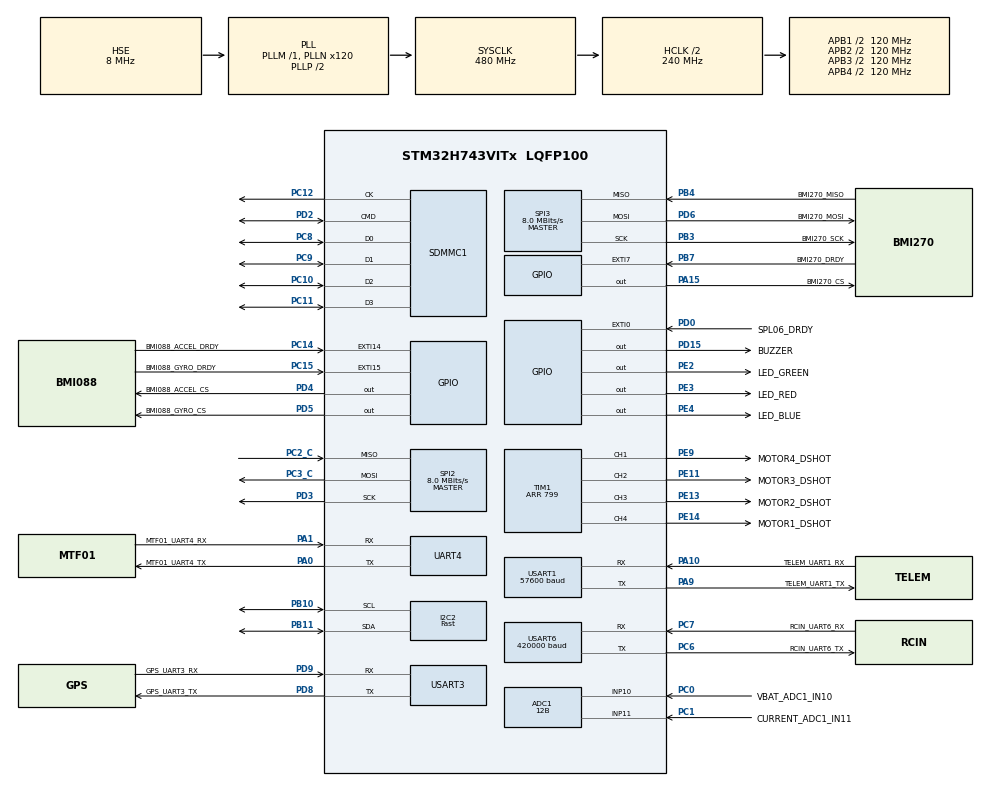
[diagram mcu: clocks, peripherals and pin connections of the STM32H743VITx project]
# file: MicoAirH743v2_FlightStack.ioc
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ADC1.Channel-0\#ChannelRegularConversion=ADC_CHANNEL_10
ADC1.Channel-1\#ChannelRegularConversion=ADC_CHANNEL_11
ADC1.ContinuousConvMode=ENABLE
ADC1.ConversionDataManagement=ADC_CONVERSIONDATA_DMA_CIRCULAR
ADC1.EOCSelection=ADC_EOC_SEQ_CONV
ADC1.NbrOfConversion=2
ADC1.NbrOfConversionFlag=1
ADC1.OffsetNumber-0\#ChannelRegularConversion=ADC_OFFSET_NONE
ADC1.OffsetNumber-1\#ChannelRegularConversion=ADC_OFFSET_NONE
ADC1.OffsetSignedSaturation-0\#ChannelRegularConversion=DISABLE
ADC1.Overrun=ADC_OVR_DATA_OVERWRITTEN
ADC1.OversamplingMode=DISABLE
ADC1.Rank-0\#ChannelRegularConversion=1
ADC1.Rank-1\#ChannelRegularConversion=2
ADC1.Resolution=ADC_RESOLUTION_12B
ADC1.SamplingTime-0\#ChannelRegularConversion=ADC_SAMPLETIME_810CYCLES_5
ADC1.SamplingTime-1\#ChannelRegularConversion=ADC_SAMPLETIME_810CYCLES_5
ADC1.master=1
CORTEX_M7.AccessPermission_S-Cortex_Memory_Protection_Unit_Region1_Settings_S=MPU_REGION_FULL_ACCESS
CORTEX_M7.AccessPermission_S-Cortex_Memory_Protection_Unit_Region2_Settings_S=MPU_REGION_FULL_ACCESS
CORTEX_M7.BaseAddress_S-Cortex_Memory_Protection_Unit_Region1_Settings_S=0x30000000
CORTEX_M7.BaseAddress_S-Cortex_Memory_Protection_Unit_Region2_Settings_S=0x30001000
CORTEX_M7.CPU_DCache=Enabled
CORTEX_M7.CPU_ICache=Enabled
CORTEX_M7.Enable_S-Cortex_Memory_Protection_Unit_Region1_Settings_S=MPU_REGION_ENABLE
CORTEX_M7.Enable_S-Cortex_Memory_Protection_Unit_Region2_Settings_S=MPU_REGION_ENABLE
CORTEX_M7.Size_S-Cortex_Memory_Protection_Unit_Region1_Settings_S=MPU_REGION_SIZE_4KB
CORTEX_M7.Size_S-Cortex_Memory_Protection_Unit_Region2_Settings_S=MPU_REGION_SIZE_2KB
CORTEX_M7.TypeExtField_S-Cortex_Memory_Protection_Unit_Region1_Settings_S=MPU_TEX_LEVEL1
CORTEX_M7.TypeExtField_S-Cortex_Memory_Protection_Unit_Region2_Settings_S=MPU_TEX_LEVEL1
CORTEX_M7.default_mode_Activation=1
Dma.ADC1.10.Direction=DMA_PERIPH_TO_MEMORY
Dma.ADC1.10.EventEnable=DISABLE
Dma.ADC1.10.FIFOMode=DMA_FIFOMODE_DISABLE
Dma.ADC1.10.Instance=DMA1_Stream7
Dma.ADC1.10.MemDataAlignment=DMA_MDATAALIGN_HALFWORD
Dma.ADC1.10.MemInc=DMA_MINC_ENABLE
Dma.ADC1.10.Mode=DMA_CIRCULAR
Dma.ADC1.10.PeriphDataAlignment=DMA_PDATAALIGN_HALFWORD
Dma.ADC1.10.PeriphInc=DMA_PINC_DISABLE
Dma.ADC1.10.Polarity=HAL_DMAMUX_REQ_GEN_RISING
Dma.ADC1.10.Priority=DMA_PRIORITY_MEDIUM
Dma.ADC1.10.RequestNumber=1
Dma.ADC1.10.SignalID=NONE
Dma.ADC1.10.SyncEnable=DISABLE
Dma.ADC1.10.SyncPolarity=HAL_DMAMUX_SYNC_NO_EVENT
Dma.ADC1.10.SyncRequestNumber=1
Dma.ADC1.10.SyncSignalID=NONE
Dma.Request0=SPI2_RX
Dma.Request1=SPI2_TX
Dma.Request10=ADC1
Dma.Request11=TIM1_CH1
Dma.Request12=TIM1_CH2
Dma.Request13=TIM1_CH3
Dma.Request14=TIM1_CH4
Dma.Request15=TIM1_UP
Dma.Request2=SPI3_RX
Dma.Request3=SPI3_TX
Dma.Request4=USART6_RX
Dma.Request5=USART6_TX
Dma.Request6=UART4_RX
Dma.Request7=USART1_RX
Dma.Request8=USART1_TX
Dma.Request9=USART3_RX
Dma.SPI2_RX.0.Direction=DMA_PERIPH_TO_MEMORY
Dma.SPI2_RX.0.EventEnable=DISABLE
Dma.SPI2_RX.0.FIFOMode=DMA_FIFOMODE_DISABLE
Dma.SPI2_RX.0.Instance=DMA1_Stream0
Dma.SPI2_RX.0.MemDataAlignment=DMA_MDATAALIGN_BYTE
Dma.SPI2_RX.0.MemInc=DMA_MINC_ENABLE
Dma.SPI2_RX.0.Mode=DMA_NORMAL
Dma.SPI2_RX.0.PeriphDataAlignment=DMA_PDATAALIGN_BYTE
Dma.SPI2_RX.0.PeriphInc=DMA_PINC_DISABLE
Dma.SPI2_RX.0.Polarity=HAL_DMAMUX_REQ_GEN_RISING
Dma.SPI2_RX.0.Priority=DMA_PRIORITY_VERY_HIGH
Dma.SPI2_RX.0.RequestNumber=1
Dma.SPI2_RX.0.SignalID=NONE
Dma.SPI2_RX.0.SyncEnable=DISABLE
Dma.SPI2_RX.0.SyncPolarity=HAL_DMAMUX_SYNC_NO_EVENT
Dma.SPI2_RX.0.SyncRequestNumber=1
Dma.SPI2_RX.0.SyncSignalID=NONE
Dma.SPI2_TX.1.Direction=DMA_MEMORY_TO_PERIPH
Dma.SPI2_TX.1.EventEnable=DISABLE
Dma.SPI2_TX.1.FIFOMode=DMA_FIFOMODE_DISABLE
Dma.SPI2_TX.1.Instance=DMA1_Stream1
Dma.SPI2_TX.1.MemDataAlignment=DMA_MDATAALIGN_BYTE
Dma.SPI2_TX.1.MemInc=DMA_MINC_ENABLE
Dma.SPI2_TX.1.Mode=DMA_NORMAL
Dma.SPI2_TX.1.PeriphDataAlignment=DMA_PDATAALIGN_BYTE
Dma.SPI2_TX.1.PeriphInc=DMA_PINC_DISABLE
Dma.SPI2_TX.1.Polarity=HAL_DMAMUX_REQ_GEN_RISING
Dma.SPI2_TX.1.Priority=DMA_PRIORITY_VERY_HIGH
Dma.SPI2_TX.1.RequestNumber=1
Dma.SPI2_TX.1.SignalID=NONE
Dma.SPI2_TX.1.SyncEnable=DISABLE
Dma.SPI2_TX.1.SyncPolarity=HAL_DMAMUX_SYNC_NO_EVENT
Dma.SPI2_TX.1.SyncRequestNumber=1
Dma.SPI2_TX.1.SyncSignalID=NONE
Dma.SPI3_RX.2.Direction=DMA_PERIPH_TO_MEMORY
Dma.SPI3_RX.2.EventEnable=DISABLE
Dma.SPI3_RX.2.FIFOMode=DMA_FIFOMODE_DISABLE
Dma.SPI3_RX.2.Instance=DMA1_Stream2
Dma.SPI3_RX.2.MemDataAlignment=DMA_MDATAALIGN_BYTE
Dma.SPI3_RX.2.MemInc=DMA_MINC_ENABLE
Dma.SPI3_RX.2.Mode=DMA_NORMAL
Dma.SPI3_RX.2.PeriphDataAlignment=DMA_PDATAALIGN_BYTE
Dma.SPI3_RX.2.PeriphInc=DMA_PINC_DISABLE
Dma.SPI3_RX.2.Polarity=HAL_DMAMUX_REQ_GEN_RISING
Dma.SPI3_RX.2.Priority=DMA_PRIORITY_HIGH
Dma.SPI3_RX.2.RequestNumber=1
Dma.SPI3_RX.2.SignalID=NONE
Dma.SPI3_RX.2.SyncEnable=DISABLE
Dma.SPI3_RX.2.SyncPolarity=HAL_DMAMUX_SYNC_NO_EVENT
Dma.SPI3_RX.2.SyncRequestNumber=1
Dma.SPI3_RX.2.SyncSignalID=NONE
Dma.SPI3_TX.3.Direction=DMA_MEMORY_TO_PERIPH
Dma.SPI3_TX.3.EventEnable=DISABLE
Dma.SPI3_TX.3.FIFOMode=DMA_FIFOMODE_DISABLE
Dma.SPI3_TX.3.Instance=DMA1_Stream3
Dma.SPI3_TX.3.MemDataAlignment=DMA_MDATAALIGN_BYTE
Dma.SPI3_TX.3.MemInc=DMA_MINC_ENABLE
Dma.SPI3_TX.3.Mode=DMA_NORMAL
Dma.SPI3_TX.3.PeriphDataAlignment=DMA_PDATAALIGN_BYTE
Dma.SPI3_TX.3.PeriphInc=DMA_PINC_DISABLE
Dma.SPI3_TX.3.Polarity=HAL_DMAMUX_REQ_GEN_RISING
Dma.SPI3_TX.3.Priority=DMA_PRIORITY_HIGH
Dma.SPI3_TX.3.RequestNumber=1
Dma.SPI3_TX.3.SignalID=NONE
Dma.SPI3_TX.3.SyncEnable=DISABLE
Dma.SPI3_TX.3.SyncPolarity=HAL_DMAMUX_SYNC_NO_EVENT
Dma.SPI3_TX.3.SyncRequestNumber=1
Dma.SPI3_TX.3.SyncSignalID=NONE
Dma.TIM1_CH1.11.Direction=DMA_PERIPH_TO_MEMORY
Dma.TIM1_CH1.11.EventEnable=DISABLE
Dma.TIM1_CH1.11.FIFOMode=DMA_FIFOMODE_DISABLE
Dma.TIM1_CH1.11.Instance=DMA2_Stream4
Dma.TIM1_CH1.11.MemDataAlignment=DMA_MDATAALIGN_HALFWORD
Dma.TIM1_CH1.11.MemInc=DMA_MINC_ENABLE
Dma.TIM1_CH1.11.Mode=DMA_NORMAL
Dma.TIM1_CH1.11.PeriphDataAlignment=DMA_PDATAALIGN_HALFWORD
Dma.TIM1_CH1.11.PeriphInc=DMA_PINC_DISABLE
Dma.TIM1_CH1.11.Polarity=HAL_DMAMUX_REQ_GEN_RISING
Dma.TIM1_CH1.11.Priority=DMA_PRIORITY_VERY_HIGH
Dma.TIM1_CH1.11.RequestNumber=1
Dma.TIM1_CH1.11.SignalID=NONE
Dma.TIM1_CH1.11.SyncEnable=DISABLE
Dma.TIM1_CH1.11.SyncPolarity=HAL_DMAMUX_SYNC_NO_EVENT
Dma.TIM1_CH1.11.SyncRequestNumber=1
Dma.TIM1_CH1.11.SyncSignalID=NONE
Dma.TIM1_CH2.12.Direction=DMA_PERIPH_TO_MEMORY
Dma.TIM1_CH2.12.EventEnable=DISABLE
Dma.TIM1_CH2.12.FIFOMode=DMA_FIFOMODE_DISABLE
Dma.TIM1_CH2.12.Instance=DMA2_Stream5
Dma.TIM1_CH2.12.MemDataAlignment=DMA_MDATAALIGN_HALFWORD
Dma.TIM1_CH2.12.MemInc=DMA_MINC_ENABLE
Dma.TIM1_CH2.12.Mode=DMA_NORMAL
Dma.TIM1_CH2.12.PeriphDataAlignment=DMA_PDATAALIGN_HALFWORD
Dma.TIM1_CH2.12.PeriphInc=DMA_PINC_DISABLE
Dma.TIM1_CH2.12.Polarity=HAL_DMAMUX_REQ_GEN_RISING
Dma.TIM1_CH2.12.Priority=DMA_PRIORITY_VERY_HIGH
Dma.TIM1_CH2.12.RequestNumber=1
Dma.TIM1_CH2.12.SignalID=NONE
Dma.TIM1_CH2.12.SyncEnable=DISABLE
Dma.TIM1_CH2.12.SyncPolarity=HAL_DMAMUX_SYNC_NO_EVENT
Dma.TIM1_CH2.12.SyncRequestNumber=1
Dma.TIM1_CH2.12.SyncSignalID=NONE
Dma.TIM1_CH3.13.Direction=DMA_PERIPH_TO_MEMORY
Dma.TIM1_CH3.13.EventEnable=DISABLE
Dma.TIM1_CH3.13.FIFOMode=DMA_FIFOMODE_DISABLE
Dma.TIM1_CH3.13.Instance=DMA2_Stream6
Dma.TIM1_CH3.13.MemDataAlignment=DMA_MDATAALIGN_HALFWORD
Dma.TIM1_CH3.13.MemInc=DMA_MINC_ENABLE
Dma.TIM1_CH3.13.Mode=DMA_NORMAL
Dma.TIM1_CH3.13.PeriphDataAlignment=DMA_PDATAALIGN_HALFWORD
Dma.TIM1_CH3.13.PeriphInc=DMA_PINC_DISABLE
Dma.TIM1_CH3.13.Polarity=HAL_DMAMUX_REQ_GEN_RISING
Dma.TIM1_CH3.13.Priority=DMA_PRIORITY_VERY_HIGH
Dma.TIM1_CH3.13.RequestNumber=1
Dma.TIM1_CH3.13.SignalID=NONE
Dma.TIM1_CH3.13.SyncEnable=DISABLE
Dma.TIM1_CH3.13.SyncPolarity=HAL_DMAMUX_SYNC_NO_EVENT
Dma.TIM1_CH3.13.SyncRequestNumber=1
Dma.TIM1_CH3.13.SyncSignalID=NONE
Dma.TIM1_CH4.14.Direction=DMA_PERIPH_TO_MEMORY
Dma.TIM1_CH4.14.EventEnable=DISABLE
Dma.TIM1_CH4.14.FIFOMode=DMA_FIFOMODE_DISABLE
Dma.TIM1_CH4.14.Instance=DMA2_Stream7
Dma.TIM1_CH4.14.MemDataAlignment=DMA_MDATAALIGN_HALFWORD
Dma.TIM1_CH4.14.MemInc=DMA_MINC_ENABLE
Dma.TIM1_CH4.14.Mode=DMA_NORMAL
Dma.TIM1_CH4.14.PeriphDataAlignment=DMA_PDATAALIGN_HALFWORD
Dma.TIM1_CH4.14.PeriphInc=DMA_PINC_DISABLE
Dma.TIM1_CH4.14.Polarity=HAL_DMAMUX_REQ_GEN_RISING
Dma.TIM1_CH4.14.Priority=DMA_PRIORITY_VERY_HIGH
Dma.TIM1_CH4.14.RequestNumber=1
Dma.TIM1_CH4.14.SignalID=NONE
Dma.TIM1_CH4.14.SyncEnable=DISABLE
Dma.TIM1_CH4.14.SyncPolarity=HAL_DMAMUX_SYNC_NO_EVENT
Dma.TIM1_CH4.14.SyncRequestNumber=1
Dma.TIM1_CH4.14.SyncSignalID=NONE
Dma.TIM1_UP.15.Direction=DMA_MEMORY_TO_PERIPH
Dma.TIM1_UP.15.EventEnable=DISABLE
Dma.TIM1_UP.15.FIFOMode=DMA_FIFOMODE_DISABLE
Dma.TIM1_UP.15.Instance=DMA2_Stream3
Dma.TIM1_UP.15.MemDataAlignment=DMA_MDATAALIGN_HALFWORD
Dma.TIM1_UP.15.MemInc=DMA_MINC_ENABLE
Dma.TIM1_UP.15.Mode=DMA_NORMAL
Dma.TIM1_UP.15.PeriphDataAlignment=DMA_PDATAALIGN_HALFWORD
Dma.TIM1_UP.15.PeriphInc=DMA_PINC_DISABLE
Dma.TIM1_UP.15.Polarity=HAL_DMAMUX_REQ_GEN_RISING
Dma.TIM1_UP.15.Priority=DMA_PRIORITY_VERY_HIGH
Dma.TIM1_UP.15.RequestNumber=1
Dma.TIM1_UP.15.SignalID=NONE
Dma.TIM1_UP.15.SyncEnable=DISABLE
Dma.TIM1_UP.15.SyncPolarity=HAL_DMAMUX_SYNC_NO_EVENT
Dma.TIM1_UP.15.SyncRequestNumber=1
Dma.TIM1_UP.15.SyncSignalID=NONE
Dma.UART4_RX.6.Direction=DMA_PERIPH_TO_MEMORY
Dma.UART4_RX.6.EventEnable=DISABLE
Dma.UART4_RX.6.FIFOMode=DMA_FIFOMODE_DISABLE
Dma.UART4_RX.6.Instance=DMA1_Stream6
Dma.UART4_RX.6.MemDataAlignment=DMA_MDATAALIGN_BYTE
Dma.UART4_RX.6.MemInc=DMA_MINC_ENABLE
Dma.UART4_RX.6.Mode=DMA_CIRCULAR
Dma.UART4_RX.6.PeriphDataAlignment=DMA_PDATAALIGN_BYTE
Dma.UART4_RX.6.PeriphInc=DMA_PINC_DISABLE
Dma.UART4_RX.6.Polarity=HAL_DMAMUX_REQ_GEN_RISING
Dma.UART4_RX.6.Priority=DMA_PRIORITY_HIGH
Dma.UART4_RX.6.RequestNumber=1
Dma.UART4_RX.6.SignalID=NONE
Dma.UART4_RX.6.SyncEnable=DISABLE
Dma.UART4_RX.6.SyncPolarity=HAL_DMAMUX_SYNC_NO_EVENT
Dma.UART4_RX.6.SyncRequestNumber=1
Dma.UART4_RX.6.SyncSignalID=NONE
Dma.USART1_RX.7.Direction=DMA_PERIPH_TO_MEMORY
Dma.USART1_RX.7.EventEnable=DISABLE
Dma.USART1_RX.7.FIFOMode=DMA_FIFOMODE_DISABLE
Dma.USART1_RX.7.Instance=DMA2_Stream0
Dma.USART1_RX.7.MemDataAlignment=DMA_MDATAALIGN_BYTE
Dma.USART1_RX.7.MemInc=DMA_MINC_ENABLE
Dma.USART1_RX.7.Mode=DMA_CIRCULAR
Dma.USART1_RX.7.PeriphDataAlignment=DMA_PDATAALIGN_BYTE
Dma.USART1_RX.7.PeriphInc=DMA_PINC_DISABLE
Dma.USART1_RX.7.Polarity=HAL_DMAMUX_REQ_GEN_RISING
Dma.USART1_RX.7.Priority=DMA_PRIORITY_MEDIUM
Dma.USART1_RX.7.RequestNumber=1
Dma.USART1_RX.7.SignalID=NONE
Dma.USART1_RX.7.SyncEnable=DISABLE
Dma.USART1_RX.7.SyncPolarity=HAL_DMAMUX_SYNC_NO_EVENT
Dma.USART1_RX.7.SyncRequestNumber=1
Dma.USART1_RX.7.SyncSignalID=NONE
Dma.USART1_TX.8.Direction=DMA_MEMORY_TO_PERIPH
Dma.USART1_TX.8.EventEnable=DISABLE
Dma.USART1_TX.8.FIFOMode=DMA_FIFOMODE_DISABLE
Dma.USART1_TX.8.Instance=DMA2_Stream1
Dma.USART1_TX.8.MemDataAlignment=DMA_MDATAALIGN_BYTE
Dma.USART1_TX.8.MemInc=DMA_MINC_ENABLE
Dma.USART1_TX.8.Mode=DMA_NORMAL
Dma.USART1_TX.8.PeriphDataAlignment=DMA_PDATAALIGN_BYTE
Dma.USART1_TX.8.PeriphInc=DMA_PINC_DISABLE
Dma.USART1_TX.8.Polarity=HAL_DMAMUX_REQ_GEN_RISING
Dma.USART1_TX.8.Priority=DMA_PRIORITY_LOW
Dma.USART1_TX.8.RequestNumber=1
Dma.USART1_TX.8.SignalID=NONE
Dma.USART1_TX.8.SyncEnable=DISABLE
Dma.USART1_TX.8.SyncPolarity=HAL_DMAMUX_SYNC_NO_EVENT
Dma.USART1_TX.8.SyncRequestNumber=1
Dma.USART1_TX.8.SyncSignalID=NONE
Dma.USART3_RX.9.Direction=DMA_PERIPH_TO_MEMORY
Dma.USART3_RX.9.EventEnable=DISABLE
Dma.USART3_RX.9.FIFOMode=DMA_FIFOMODE_DISABLE
Dma.USART3_RX.9.Instance=DMA2_Stream2
Dma.USART3_RX.9.MemDataAlignment=DMA_MDATAALIGN_BYTE
Dma.USART3_RX.9.MemInc=DMA_MINC_ENABLE
Dma.USART3_RX.9.Mode=DMA_CIRCULAR
Dma.USART3_RX.9.PeriphDataAlignment=DMA_PDATAALIGN_BYTE
Dma.USART3_RX.9.PeriphInc=DMA_PINC_DISABLE
Dma.USART3_RX.9.Polarity=HAL_DMAMUX_REQ_GEN_RISING
Dma.USART3_RX.9.Priority=DMA_PRIORITY_MEDIUM
Dma.USART3_RX.9.RequestNumber=1
Dma.USART3_RX.9.SignalID=NONE
Dma.USART3_RX.9.SyncEnable=DISABLE
Dma.USART3_RX.9.SyncPolarity=HAL_DMAMUX_SYNC_NO_EVENT
Dma.USART3_RX.9.SyncRequestNumber=1
Dma.USART3_RX.9.SyncSignalID=NONE
Dma.USART6_RX.4.Direction=DMA_PERIPH_TO_MEMORY
Dma.USART6_RX.4.EventEnable=DISABLE
Dma.USART6_RX.4.FIFOMode=DMA_FIFOMODE_DISABLE
Dma.USART6_RX.4.Instance=DMA1_Stream4
Dma.USART6_RX.4.MemDataAlignment=DMA_MDATAALIGN_BYTE
Dma.USART6_RX.4.MemInc=DMA_MINC_ENABLE
Dma.USART6_RX.4.Mode=DMA_CIRCULAR
Dma.USART6_RX.4.PeriphDataAlignment=DMA_PDATAALIGN_BYTE
Dma.USART6_RX.4.PeriphInc=DMA_PINC_DISABLE
Dma.USART6_RX.4.Polarity=HAL_DMAMUX_REQ_GEN_RISING
Dma.USART6_RX.4.Priority=DMA_PRIORITY_HIGH
Dma.USART6_RX.4.RequestNumber=1
Dma.USART6_RX.4.SignalID=NONE
Dma.USART6_RX.4.SyncEnable=DISABLE
Dma.USART6_RX.4.SyncPolarity=HAL_DMAMUX_SYNC_NO_EVENT
Dma.USART6_RX.4.SyncRequestNumber=1
Dma.USART6_RX.4.SyncSignalID=NONE
Dma.USART6_TX.5.Direction=DMA_MEMORY_TO_PERIPH
Dma.USART6_TX.5.EventEnable=DISABLE
Dma.USART6_TX.5.FIFOMode=DMA_FIFOMODE_DISABLE
Dma.USART6_TX.5.Instance=DMA1_Stream5
Dma.USART6_TX.5.MemDataAlignment=DMA_MDATAALIGN_BYTE
Dma.USART6_TX.5.MemInc=DMA_MINC_ENABLE
Dma.USART6_TX.5.Mode=DMA_NORMAL
Dma.USART6_TX.5.PeriphDataAlignment=DMA_PDATAALIGN_BYTE
Dma.USART6_TX.5.PeriphInc=DMA_PINC_DISABLE
Dma.USART6_TX.5.Polarity=HAL_DMAMUX_REQ_GEN_RISING
Dma.USART6_TX.5.Priority=DMA_PRIORITY_HIGH
Dma.USART6_TX.5.RequestNumber=1
Dma.USART6_TX.5.SignalID=NONE
Dma.USART6_TX.5.SyncEnable=DISABLE
Dma.USART6_TX.5.SyncPolarity=HAL_DMAMUX_SYNC_NO_EVENT
Dma.USART6_TX.5.SyncRequestNumber=1
Dma.USART6_TX.5.SyncSignalID=NONE
FATFS._FS_NORTC=1
FATFS._USE_FASTSEEK=0
FREERTOS.Mutexes01=i2c2Mutex,Dynamic,NULL,Available
FREERTOS.Tasks01=defaultTask,24,128,StartDefaultTask,Default,NULL,Dynamic,NULL,NULL;IMUTask,40,512,StartIMUTask,Default,NULL,Dynamic,NULL,NULL;BaroTask,16,512,StartBaroTask,Default,NULL,Dynamic,NULL,NULL;CompassTask,16,512,StartCompassTask,Default,NULL,Dynamic,NULL,NULL;RCTask,32,512,StartRCTask,Default,NULL,Dynamic,NULL,NULL;RateControlTask,33,1024,StartRateControlTask,Default,NULL,Dynamic,NULL,NULL
FREERTOS.configCHECK_FOR_STACK_OVERFLOW=2
FREERTOS.configENABLE_FPU=1
FREERTOS.configMAX_TASK_NAME_LEN=24
FREERTOS.configQUEUE_REGISTRY_SIZE=16
FREERTOS.configTOTAL_HEAP_SIZE=65536
FREERTOS.configUSE_MALLOC_FAILED_HOOK=1
FREERTOS.configUSE_NEWLIB_REENTRANT=1
I2C2.I2C_Speed_Mode=I2C_Fast
I2C2.Timing=0x00B03FDB
Mcu.Family=STM32H7
Mcu.Name=STM32H743VITx
Mcu.Package=LQFP100
NVIC.DMA1_Stream0_IRQn=true\:5\:0\:true\:false\:true\:false\:false\:true\:true
NVIC.DMA1_Stream1_IRQn=true\:5\:0\:true\:false\:true\:false\:false\:true\:true
NVIC.DMA1_Stream2_IRQn=true\:6\:0\:true\:false\:true\:false\:false\:true\:true
NVIC.DMA1_Stream3_IRQn=true\:6\:0\:true\:false\:true\:false\:false\:true\:true
NVIC.DMA1_Stream4_IRQn=true\:6\:0\:true\:false\:true\:false\:false\:true\:true
NVIC.DMA1_Stream5_IRQn=true\:6\:0\:true\:false\:true\:false\:false\:true\:true
NVIC.DMA1_Stream6_IRQn=true\:7\:0\:true\:false\:true\:false\:false\:true\:true
NVIC.DMA1_Stream7_IRQn=true\:9\:0\:true\:false\:true\:false\:false\:true\:true
NVIC.DMA2_Stream0_IRQn=true\:8\:0\:true\:false\:true\:false\:false\:true\:true
NVIC.DMA2_Stream1_IRQn=true\:8\:0\:true\:false\:true\:false\:false\:true\:true
NVIC.DMA2_Stream2_IRQn=true\:8\:0\:true\:false\:true\:false\:false\:true\:true
NVIC.DMA2_Stream3_IRQn=true\:6\:0\:true\:false\:true\:false\:false\:true\:true
NVIC.DMA2_Stream4_IRQn=true\:6\:0\:true\:false\:true\:false\:false\:true\:true
NVIC.DMA2_Stream5_IRQn=true\:6\:0\:true\:false\:true\:false\:false\:true\:true
NVIC.DMA2_Stream6_IRQn=true\:6\:0\:true\:false\:true\:false\:false\:true\:true
NVIC.DMA2_Stream7_IRQn=true\:6\:0\:true\:false\:true\:false\:false\:true\:true
NVIC.EXTI0_IRQn=true\:7\:0\:true\:false\:true\:true\:true\:true\:true
NVIC.EXTI15_10_IRQn=true\:5\:0\:true\:false\:true\:true\:true\:true\:true
NVIC.EXTI9_5_IRQn=true\:6\:0\:true\:false\:true\:true\:true\:true\:true
NVIC.I2C2_ER_IRQn=true\:7\:0\:true\:false\:true\:true\:true\:true\:true
NVIC.I2C2_EV_IRQn=true\:7\:0\:true\:false\:true\:true\:true\:true\:true
NVIC.PriorityGroup=NVIC_PRIORITYGROUP_4
NVIC.SDMMC1_IRQn=true\:9\:0\:true\:false\:true\:false\:true\:true\:true
NVIC.SPI2_IRQn=true\:5\:0\:true\:false\:true\:true\:false\:true\:true
NVIC.SPI3_IRQn=true\:6\:0\:true\:false\:true\:true\:false\:true\:true
NVIC.TIM6_DAC_IRQn=true\:15\:0\:false\:false\:true\:false\:false\:true\:true
NVIC.TimeBase=TIM6_DAC_IRQn
NVIC.TimeBaseIP=TIM6
NVIC.UART4_IRQn=true\:7\:0\:true\:false\:true\:true\:true\:true\:true
NVIC.USART1_IRQn=true\:8\:0\:true\:false\:true\:true\:true\:true\:true
NVIC.USART3_IRQn=true\:8\:0\:true\:false\:true\:true\:true\:true\:true
NVIC.USART6_IRQn=true\:6\:0\:true\:false\:true\:true\:true\:true\:true
PA0.GPIO_Label=MTF01_UART4_TX
PA0.GPIO_Speed=GPIO_SPEED_FREQ_HIGH
PA0.Mode=Asynchronous
PA0.Signal=UART4_TX
PA1.GPIO_Label=MTF01_UART4_RX
PA1.GPIO_Speed=GPIO_SPEED_FREQ_HIGH
PA1.Mode=Asynchronous
PA1.Signal=UART4_RX
PA10.GPIO_Label=TELEM_UART1_RX
PA10.GPIO_Speed=GPIO_SPEED_FREQ_HIGH
PA10.Mode=Asynchronous
PA10.Signal=USART1_RX
PA13\ (JTMS/SWDIO).Mode=Serial_Wire
PA13\ (JTMS/SWDIO).Signal=DEBUG_JTMS-SWDIO
PA14\ (JTCK/SWCLK).Mode=Serial_Wire
PA14\ (JTCK/SWCLK).Signal=DEBUG_JTCK-SWCLK
PA15\ (JTDI).GPIO_Label=BMI270_CS
PA15\ (JTDI).GPIO_Speed=GPIO_SPEED_FREQ_HIGH
PA15\ (JTDI).PinState=GPIO_PIN_SET
PA15\ (JTDI).Signal=GPIO_Output
PA9.GPIO_Label=TELEM_UART1_TX
PA9.GPIO_Speed=GPIO_SPEED_FREQ_HIGH
PA9.Mode=Asynchronous
PA9.Signal=USART1_TX
PB10.GPIO_Speed=GPIO_SPEED_FREQ_VERY_HIGH
PB10.Mode=I2C
PB10.Signal=I2C2_SCL
PB11.GPIO_Speed=GPIO_SPEED_FREQ_VERY_HIGH
PB11.Mode=I2C
PB11.Signal=I2C2_SDA
PB3\ (JTDO/TRACESWO).GPIO_Label=BMI270_SCK
PB3\ (JTDO/TRACESWO).GPIO_Speed=GPIO_SPEED_FREQ_VERY_HIGH
PB3\ (JTDO/TRACESWO).Mode=Full_Duplex_Master
PB3\ (JTDO/TRACESWO).Signal=SPI3_SCK
PB4\ (NJTRST).GPIO_Label=BMI270_MISO
PB4\ (NJTRST).GPIO_Speed=GPIO_SPEED_FREQ_VERY_HIGH
PB4\ (NJTRST).Mode=Full_Duplex_Master
PB4\ (NJTRST).Signal=SPI3_MISO
PB7.GPIO_Label=BMI270_DRDY
PB7.Signal=GPXTI7
PC0.GPIO_Label=VBAT_ADC1_IN10
PC0.Signal=ADCx_INP10
PC1.GPIO_Label=CURRENT_ADC1_IN11
PC1.Signal=ADCx_INP11
PC10.Mode=SD_4_bits_Wide_bus
PC10.Signal=SDMMC1_D2
PC11.Mode=SD_4_bits_Wide_bus
PC11.Signal=SDMMC1_D3
PC12.Mode=SD_4_bits_Wide_bus
PC12.Signal=SDMMC1_CK
PC14-OSC32_IN\ (OSC32_IN).GPIO_Label=BMI088_ACCEL_DRDY
PC14-OSC32_IN\ (OSC32_IN).GPIO_ModeDefaultEXTI=GPIO_MODE_IT_RISING
PC14-OSC32_IN\ (OSC32_IN).Signal=GPXTI14
PC15-OSC32_OUT\ (OSC32_OUT).GPIO_Label=BMI088_GYRO_DRDY
PC15-OSC32_OUT\ (OSC32_OUT).Signal=GPXTI15
PC2_C.GPIO_Speed=GPIO_SPEED_FREQ_VERY_HIGH
PC2_C.Mode=Full_Duplex_Master
PC2_C.Signal=SPI2_MISO
PC3_C.GPIO_Speed=GPIO_SPEED_FREQ_VERY_HIGH
PC3_C.Mode=Full_Duplex_Master
PC3_C.Signal=SPI2_MOSI
PC6.GPIO_Label=RCIN_UART6_TX
PC6.GPIO_Speed=GPIO_SPEED_FREQ_VERY_HIGH
PC6.Mode=Asynchronous
PC6.Signal=USART6_TX
PC7.GPIO_Label=RCIN_UART6_RX
PC7.GPIO_Speed=GPIO_SPEED_FREQ_VERY_HIGH
PC7.Mode=Asynchronous
PC7.Signal=USART6_RX
PC8.Mode=SD_4_bits_Wide_bus
PC8.Signal=SDMMC1_D0
PC9.Mode=SD_4_bits_Wide_bus
PC9.Signal=SDMMC1_D1
PD0.GPIO_Label=SPL06_DRDY
PD0.Signal=GPXTI0
PD15.GPIO_Label=BUZZER
PD15.PinState=GPIO_PIN_RESET
PD15.Signal=GPIO_Output
PD2.Mode=SD_4_bits_Wide_bus
PD2.Signal=SDMMC1_CMD
PD3.GPIO_Speed=GPIO_SPEED_FREQ_VERY_HIGH
PD3.Mode=Full_Duplex_Master
PD3.Signal=SPI2_SCK
PD4.GPIO_Label=BMI088_ACCEL_CS
PD4.GPIO_Speed=GPIO_SPEED_FREQ_HIGH
PD4.PinState=GPIO_PIN_SET
PD4.Signal=GPIO_Output
PD5.GPIO_Label=BMI088_GYRO_CS
PD5.GPIO_PuPd=GPIO_NOPULL
PD5.GPIO_Speed=GPIO_SPEED_FREQ_HIGH
PD5.PinState=GPIO_PIN_SET
PD5.Signal=GPIO_Output
PD6.GPIO_Label=BMI270_MOSI
PD6.GPIO_Speed=GPIO_SPEED_FREQ_VERY_HIGH
PD6.Mode=Full_Duplex_Master
PD6.Signal=SPI3_MOSI
PD8.GPIO_Label=GPS_UART3_TX
PD8.GPIO_Speed=GPIO_SPEED_FREQ_HIGH
PD8.Mode=Asynchronous
PD8.Signal=USART3_TX
PD9.GPIO_Label=GPS_UART3_RX
PD9.GPIO_Speed=GPIO_SPEED_FREQ_HIGH
PD9.Mode=Asynchronous
PD9.Signal=USART3_RX
PE11.GPIO_Label=MOTOR3_DSHOT
PE11.GPIO_Speed=GPIO_SPEED_FREQ_VERY_HIGH
PE11.Signal=S_TIM1_CH2
PE13.GPIO_Label=MOTOR2_DSHOT
PE13.GPIO_Speed=GPIO_SPEED_FREQ_VERY_HIGH
PE13.Signal=S_TIM1_CH3
PE14.GPIO_Label=MOTOR1_DSHOT
PE14.GPIO_Speed=GPIO_SPEED_FREQ_VERY_HIGH
PE14.Signal=S_TIM1_CH4
PE2.GPIO_Label=LED_GREEN
PE2.Signal=GPIO_Output
PE3.GPIO_Label=LED_RED
PE3.Signal=GPIO_Output
PE4.GPIO_Label=LED_BLUE
PE4.Signal=GPIO_Output
PE9.GPIO_Label=MOTOR4_DSHOT
PE9.GPIO_Speed=GPIO_SPEED_FREQ_VERY_HIGH
PE9.Signal=S_TIM1_CH1
PH0-OSC_IN\ (PH0).Mode=HSE-External-Oscillator
PH0-OSC_IN\ (PH0).Signal=RCC_OSC_IN
PH1-OSC_OUT\ (PH1).Mode=HSE-External-Oscillator
PH1-OSC_OUT\ (PH1).Signal=RCC_OSC_OUT
ProjectManager.HeapSize=0x200
ProjectManager.StackSize=0x400
ProjectManager.TargetToolchain=STM32CubeIDE
RCC.ADCFreq_Value=76000000
RCC.APB1Freq_Value=120000000
RCC.APB2Freq_Value=120000000
RCC.APB3Freq_Value=120000000
RCC.APB4Freq_Value=120000000
RCC.CortexFreq_Value=480000000
RCC.D1PPRE=RCC_APB3_DIV2
RCC.D2PPRE1=RCC_APB1_DIV2
RCC.D2PPRE2=RCC_APB2_DIV2
RCC.D3PPRE=RCC_APB4_DIV2
RCC.DIVM1=1
RCC.DIVM2=1
RCC.DIVN1=120
RCC.DIVN2=19
RCC.DIVQ1=4
RCC.FLatency=FLASH_LATENCY_4
RCC.HCLKFreq_Value=240000000
RCC.HPRE=RCC_HCLK_DIV2
RCC.HSE_VALUE=8000000
RCC.PLL2FRACN=0
RCC.PLL3FRACN=0
RCC.PLLFRACN=0
RCC.PLLSourceVirtual=RCC_PLLSOURCE_HSE
RCC.SPI123CLockSelection=RCC_SPI123CLKSOURCE_CLKP
RCC.SYSCLKFreq_VALUE=480000000
RCC.SYSCLKSource=RCC_SYSCLKSOURCE_PLLCLK
RCC.SupplySource=PWR_LDO_SUPPLY
RCC.USBFreq_Value=240000000
SDMMC1.ClockDiv=5
SH.ADCx_INP10.0=ADC1_INP10,IN10-Single-Ended
SH.ADCx_INP11.0=ADC1_INP11,IN11-Single-Ended
SH.S_TIM1_CH1.0=TIM1_CH1,PWM Generation1 CH1
SH.S_TIM1_CH2.0=TIM1_CH2,PWM Generation2 CH2
SH.S_TIM1_CH3.0=TIM1_CH3,PWM Generation3 CH3
SH.S_TIM1_CH4.0=TIM1_CH4,PWM Generation4 CH4
SPI2.BaudRatePrescaler=SPI_BAUDRATEPRESCALER_8
SPI2.CalculateBaudRate=8.0 MBits/s
SPI2.DataSize=SPI_DATASIZE_8BIT
SPI2.Direction=SPI_DIRECTION_2LINES
SPI2.MasterKeepIOState=SPI_MASTER_KEEP_IO_STATE_ENABLE
SPI2.Mode=SPI_MODE_MASTER
SPI2.NSSPMode=SPI_NSS_PULSE_DISABLE
SPI2.VirtualType=VM_MASTER
SPI3.BaudRatePrescaler=SPI_BAUDRATEPRESCALER_8
SPI3.CalculateBaudRate=8.0 MBits/s
SPI3.DataSize=SPI_DATASIZE_8BIT
SPI3.Direction=SPI_DIRECTION_2LINES
SPI3.MasterKeepIOState=SPI_MASTER_KEEP_IO_STATE_ENABLE
SPI3.Mode=SPI_MODE_MASTER
SPI3.NSSPMode=SPI_NSS_PULSE_DISABLE
SPI3.VirtualType=VM_MASTER
TIM1.AutoReloadPreload=TIM_AUTORELOAD_PRELOAD_ENABLE
TIM1.Channel-PWM\ Generation1\ CH1=TIM_CHANNEL_1
TIM1.Channel-PWM\ Generation2\ CH2=TIM_CHANNEL_2
TIM1.Channel-PWM\ Generation3\ CH3=TIM_CHANNEL_3
TIM1.Channel-PWM\ Generation4\ CH4=TIM_CHANNEL_4
TIM1.ClockDivision=TIM_CLOCKDIVISION_DIV1
TIM1.OCIdleState_1=TIM_OCIDLESTATE_SET
TIM1.OCIdleState_2=TIM_OCIDLESTATE_SET
TIM1.OCIdleState_3=TIM_OCIDLESTATE_SET
TIM1.OCIdleState_4=TIM_OCIDLESTATE_SET
TIM1.OCPolarity_1=TIM_OCPOLARITY_LOW
TIM1.OCPolarity_2=TIM_OCPOLARITY_LOW
TIM1.OCPolarity_3=TIM_OCPOLARITY_LOW
TIM1.OCPolarity_4=TIM_OCPOLARITY_LOW
TIM1.Period=799
TIM2.Prescaler=239
USART1.BaudRate=57600
USART1.VirtualMode-Asynchronous=VM_ASYNC
USART3.VirtualMode-Asynchronous=VM_ASYNC
USART6.BaudRate=420000
USART6.VirtualMode=VM_ASYNC
VP_FATFS_VS_SDIO.Mode=SDIO
VP_FREERTOS_VS_CMSIS_V2.Mode=CMSIS_V2
VP_MEMORYMAP_VS_MEMORYMAP.Mode=CurAppReg
VP_SYS_VS_tim6.Mode=TIM6
VP_TIM1_VS_ClockSourceINT.Mode=Internal
VP_TIM2_VS_ClockSourceINT.Mode=Internal
board=custom

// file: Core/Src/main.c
/* USER CODE BEGIN Header */
/**
  ******************************************************************************
  * @file           : main.c
  * @brief          : Main program body
  ******************************************************************************
  * @attention
  *
  * Copyright (c) 2026 STMicroelectronics.
  * All rights reserved.
  *
  * This software is licensed under terms that can be found in the LICENSE file
  * in the root directory of this software component.
  * If no LICENSE file comes with this software, it is provided AS-IS.
  *
  ******************************************************************************
  */
/* USER CODE END Header */
#include "main.h"
#include "FreeRTOS.h"
#include "cmsis_os2.h"
#include "adc.h"
#include "dma.h"
#include "fatfs.h"
#include "i2c.h"
#include "sdmmc.h"
#include "spi.h"
#include "tim.h"
#include "usart.h"
#include "gpio.h"

/* USER CODE BEGIN Includes */
/* Include sensor*/
#include <string.h>
#include "bmi088.h"
#include "spl06.h"
#include "qmc5883l.h"
#include "elrs.h"
#include "crsf.h"
#include "dshot300.h"

/* Test bebug */
#include "elrs_test.h"
#include "elrs_crsf_test.h"
#include "dshot300_test.h"

/* Include RTOS */
#include "imu_task.h"
#include "baro_task.h"
#include "compass_task.h"
#include "rc_task.h"
/* USER CODE END Includes */

/* USER CODE BEGIN PD */
#define UART6_RX_DMA_BUFFER_SIZE 512U
#define ELRS_LOOPBACK_TEST_ENABLE 0U
#define ELRS_CRSF_TEST_ENABLE 0U
#define DSHOT300_TX_TEST_ENABLE 0U
/* USER CODE END PD */

void SystemClock_Config(void);
void PeriphCommonClock_Config(void);
static void MPU_Config(void);
void MX_FREERTOS_Init(void);

int main(void)
{

  /* MPU Configuration--------------------------------------------------------*/
  MPU_Config();

  /* Enable the CPU Cache */

  /* Enable I-Cache---------------------------------------------------------*/
  SCB_EnableICache();

  /* Enable D-Cache---------------------------------------------------------*/
  SCB_EnableDCache();

  /* MCU Configuration--------------------------------------------------------*/

  /* Reset of all peripherals, Initializes the Flash interface and the Systick. */
  HAL_Init();

  /* Configure the system clock */
  SystemClock_Config();

  /* Configure the peripherals common clocks */
  PeriphCommonClock_Config();

  /* Initialize all configured peripherals */
  MX_GPIO_Init();
  MX_DMA_Init();
  MX_SPI2_Init();
  MX_SPI3_Init();
  MX_I2C2_Init();
  MX_USART6_UART_Init();
  MX_USART3_UART_Init();
  MX_UART4_Init();
  MX_USART1_UART_Init();
  MX_ADC1_Init();
  MX_TIM1_Init();
  MX_SDMMC1_SD_Init();
  MX_FATFS_Init();
  MX_TIM2_Init();
  /* USER CODE BEGIN 2 */
  BMI088_Init();
  SPL06_Init();
  QMC5883L_Init();
  ELRS_Init();
  CRSF_Init();

  /* USER CODE END 2 */

  /* Init scheduler */
  osKernelInitialize();  /* Call init function for freertos objects (in cmsis_os2.c) */
  MX_FREERTOS_Init();

  /* Start scheduler */
  osKernelStart();

  /* We should never get here as control is now taken by the scheduler */

  /* Infinite loop */
  while (1)
  {

  }
}

void SystemClock_Config(void)
{
  RCC_OscInitTypeDef RCC_OscInitStruct = {0};
  RCC_ClkInitTypeDef RCC_ClkInitStruct = {0};

  /** Supply configuration update enable
  */
  HAL_PWREx_ConfigSupply(PWR_LDO_SUPPLY);

  /** Configure the main internal regulator output voltage
  */
  __HAL_PWR_VOLTAGESCALING_CONFIG(PWR_REGULATOR_VOLTAGE_SCALE0);

  while(!__HAL_PWR_GET_FLAG(PWR_FLAG_VOSRDY)) {}

  /** Initializes the RCC Oscillators according to the specified parameters
  * in the RCC_OscInitTypeDef structure.
  */
  RCC_OscInitStruct.OscillatorType = RCC_OSCILLATORTYPE_HSI|RCC_OSCILLATORTYPE_HSE;
  RCC_OscInitStruct.HSEState = RCC_HSE_ON;
  RCC_OscInitStruct.HSIState = RCC_HSI_DIV1;
  RCC_OscInitStruct.HSICalibrationValue = RCC_HSICALIBRATION_DEFAULT;
  RCC_OscInitStruct.PLL.PLLState = RCC_PLL_ON;
  RCC_OscInitStruct.PLL.PLLSource = RCC_PLLSOURCE_HSE;
  RCC_OscInitStruct.PLL.PLLM = 1;
  RCC_OscInitStruct.PLL.PLLN = 120;
  RCC_OscInitStruct.PLL.PLLP = 2;
  RCC_OscInitStruct.PLL.PLLQ = 4;
  RCC_OscInitStruct.PLL.PLLR = 2;
  RCC_OscInitStruct.PLL.PLLRGE = RCC_PLL1VCIRANGE_3;
  RCC_OscInitStruct.PLL.PLLVCOSEL = RCC_PLL1VCOWIDE;
  RCC_OscInitStruct.PLL.PLLFRACN = 0;
  if (HAL_RCC_OscConfig(&RCC_OscInitStruct) != HAL_OK)
  {
    Error_Handler();
  }

  /** Initializes the CPU, AHB and APB buses clocks
  */
  RCC_ClkInitStruct.ClockType = RCC_CLOCKTYPE_HCLK|RCC_CLOCKTYPE_SYSCLK
                              |RCC_CLOCKTYPE_PCLK1|RCC_CLOCKTYPE_PCLK2
                              |RCC_CLOCKTYPE_D3PCLK1|RCC_CLOCKTYPE_D1PCLK1;
  RCC_ClkInitStruct.SYSCLKSource = RCC_SYSCLKSOURCE_PLLCLK;
  RCC_ClkInitStruct.SYSCLKDivider = RCC_SYSCLK_DIV1;
  RCC_ClkInitStruct.AHBCLKDivider = RCC_HCLK_DIV2;
  RCC_ClkInitStruct.APB3CLKDivider = RCC_APB3_DIV2;
  RCC_ClkInitStruct.APB1CLKDivider = RCC_APB1_DIV2;
  RCC_ClkInitStruct.APB2CLKDivider = RCC_APB2_DIV2;
  RCC_ClkInitStruct.APB4CLKDivider = RCC_APB4_DIV2;

  if (HAL_RCC_ClockConfig(&RCC_ClkInitStruct, FLASH_LATENCY_4) != HAL_OK)
  {
    Error_Handler();
  }
}

void PeriphCommonClock_Config(void)
{
  RCC_PeriphCLKInitTypeDef PeriphClkInitStruct = {0};

  /** Initializes the peripherals clock
  */
  PeriphClkInitStruct.PeriphClockSelection = RCC_PERIPHCLK_CKPER;
  PeriphClkInitStruct.CkperClockSelection = RCC_CLKPSOURCE_HSI;
  if (HAL_RCCEx_PeriphCLKConfig(&PeriphClkInitStruct) != HAL_OK)
  {
    Error_Handler();
  }
}

/* USER CODE BEGIN 4 */
/**
  * @brief  Notifies the IMU task of a BMI088 data-ready interrupt.
  * @param  GPIO_Pin GPIO pin that generated the EXTI interrupt.
  * @retval None
  */
void HAL_GPIO_EXTI_Callback(uint16_t GPIO_Pin)
{
    if (GPIO_Pin == BMI088_ACCEL_DRDY_Pin)
    {
        IMUTask_NotifyAccDrdyFromISR();
    }
    else if (GPIO_Pin == BMI088_GYRO_DRDY_Pin)
    {
        IMUTask_NotifyGyroDrdyFromISR();
    }
}

/**
  * @brief  Handles BMI088 SPI DMA completion and notifies the IMU task.
  * @param  hspi Pointer to the SPI handle provided by HAL.
  * @retval None
  */
void HAL_SPI_TxRxCpltCallback(SPI_HandleTypeDef *hspi)
{
    BMI088_SPI_State_t completed_state;

    if (hspi != &hspi2)
    {
        return;
    }

    completed_state = BMI088_SPI_GetState();

    BMI088_SPI_TxRxCpltHandler(hspi);

    if (completed_state == BMI088_SPI_ACC_DMA)
    {
        IMUTask_NotifyAccDmaDoneFromISR();
    }
    else if (completed_state == BMI088_SPI_GYRO_DMA)
    {
        IMUTask_NotifyGyroDmaDoneFromISR();
    }
}

/**
  * @brief  Handles BMI088 SPI errors and notifies the IMU task.
  * @param  hspi Pointer to the SPI handle provided by HAL.
  * @retval None
  */
void HAL_SPI_ErrorCallback(SPI_HandleTypeDef *hspi)
{
    BMI088_SPI_State_t error_state;

    if (hspi != &hspi2)
    {
        return;
    }

    error_state = BMI088_SPI_GetState();

    BMI088_SPI_ErrorHandler(hspi);

    if (error_state == BMI088_SPI_ACC_DMA)
    {
        IMUTask_NotifyAccDmaErrorFromISR();
    }
    else if (error_state == BMI088_SPI_GYRO_DMA)
    {
        IMUTask_NotifyGyroDmaErrorFromISR();
    }
}

/**
  * @brief  Handles UART6 RX events and notifies the RC task.
  * @param  huart Pointer to the UART handle provided by HAL.
  * @param  size RX event position provided by HAL.
  * @retval None
  */
void HAL_UARTEx_RxEventCallback(UART_HandleTypeDef *huart, uint16_t size)
{
    if (huart == &huart6)
    {
        ELRS_UART_RxEventHandler(huart, size);

        RCTask_NotifyRxAvailableFromISR();
    }
}

/**
  * @brief  Handles UART6 errors and notifies the RC task.
  * @param  huart Pointer to the UART handle provided by HAL.
  * @retval None
  */
void HAL_UART_ErrorCallback(UART_HandleTypeDef *huart)
{
    if (huart == &huart6)
    {
        ELRS_UART_ErrorHandler(huart);

        RCTask_NotifyRxErrorFromISR();
    }
}
/* USER CODE END 4 */

 /* MPU Configuration */

void MPU_Config(void)
{
  MPU_Region_InitTypeDef MPU_InitStruct = {0};

  /* Disables the MPU */
  HAL_MPU_Disable();

  /** Initializes and configures the Region and the memory to be protected
  */
  MPU_InitStruct.Enable = MPU_REGION_ENABLE;
  MPU_InitStruct.Number = MPU_REGION_NUMBER0;
  MPU_InitStruct.BaseAddress = 0x0;
  MPU_InitStruct.Size = MPU_REGION_SIZE_4GB;
  MPU_InitStruct.SubRegionDisable = 0x87;
  MPU_InitStruct.TypeExtField = MPU_TEX_LEVEL0;
  MPU_InitStruct.AccessPermission = MPU_REGION_NO_ACCESS;
  MPU_InitStruct.DisableExec = MPU_INSTRUCTION_ACCESS_DISABLE;
  MPU_InitStruct.IsShareable = MPU_ACCESS_SHAREABLE;
  MPU_InitStruct.IsCacheable = MPU_ACCESS_NOT_CACHEABLE;
  MPU_InitStruct.IsBufferable = MPU_ACCESS_NOT_BUFFERABLE;

  HAL_MPU_ConfigRegion(&MPU_InitStruct);

  /** Initializes and configures the Region and the memory to be protected
  */
  MPU_InitStruct.Number = MPU_REGION_NUMBER1;
  MPU_InitStruct.BaseAddress = 0x30000000;
  MPU_InitStruct.Size = MPU_REGION_SIZE_4KB;
  MPU_InitStruct.SubRegionDisable = 0x0;
  MPU_InitStruct.TypeExtField = MPU_TEX_LEVEL1;
  MPU_InitStruct.AccessPermission = MPU_REGION_FULL_ACCESS;
  MPU_InitStruct.DisableExec = MPU_INSTRUCTION_ACCESS_ENABLE;
  MPU_InitStruct.IsShareable = MPU_ACCESS_NOT_SHAREABLE;

  HAL_MPU_ConfigRegion(&MPU_InitStruct);

  /** Initializes and configures the Region and the memory to be protected
  */
  MPU_InitStruct.Number = MPU_REGION_NUMBER2;
  MPU_InitStruct.BaseAddress = 0x30001000;
  MPU_InitStruct.Size = MPU_REGION_SIZE_2KB;

  HAL_MPU_ConfigRegion(&MPU_InitStruct);
  /* Enables the MPU */
  HAL_MPU_Enable(MPU_PRIVILEGED_DEFAULT);

}

void HAL_TIM_PeriodElapsedCallback(TIM_HandleTypeDef *htim)
{
  if (htim->Instance == TIM6)
  {
    HAL_IncTick();
  }
}

void Error_Handler(void)
{
  __disable_irq();
  while (1)
  {
  }
}

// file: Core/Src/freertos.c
/* USER CODE BEGIN Header */
/**
  ******************************************************************************
  * File Name          : freertos.c
  * Description        : Code for freertos applications
  ******************************************************************************
  * @attention
  *
  * Copyright (c) 2026 STMicroelectronics.
  * All rights reserved.
  *
  * This software is licensed under terms that can be found in the LICENSE file
  * in the root directory of this software component.
  * If no LICENSE file comes with this software, it is provided AS-IS.
  *
  ******************************************************************************
  */
/* USER CODE END Header */

#include "FreeRTOS.h"
#include "task.h"
#include "main.h"
#include "FreeRTOS.h"
#include "cmsis_os2.h"

/* USER CODE BEGIN Includes */
#include "tim.h"
#include "imu_task.h"
#include "baro_task.h"
#include "compass_task.h"
#include "rc_task.h"
#include "rc_task_test.h"
#include "rc_load_test.h"
#include "rtos_timing.h"
#include "rate_control_task.h"
/* USER CODE END Includes */

/* USER CODE BEGIN PD */

#define RC_LOAD_TEST_ENABLE 1U
/* USER CODE END PD */

/* USER CODE BEGIN Variables */

volatile uint32_t dbg_hal_tick = 0U;
volatile uint32_t dbg_rtos_tick = 0U;
volatile uint32_t dbg_task_count = 0U;
volatile uint32_t dbg_heap_free = 0U;
volatile uint32_t dbg_heap_min = 0U;
volatile uint32_t dbg_rtos_fault = 0U;
volatile uint32_t dbg_compass_task_count = 0U;

/* Minimum observed free stack space, in bytes. */
volatile uint32_t dbg_stack_default_min_bytes = 0xFFFFFFFFU;
volatile uint32_t dbg_stack_imu_min_bytes = 0xFFFFFFFFU;
volatile uint32_t dbg_stack_baro_min_bytes = 0xFFFFFFFFU;
volatile uint32_t dbg_stack_compass_min_bytes = 0xFFFFFFFFU;
volatile uint32_t dbg_stack_rc_min_bytes = 0xFFFFFFFFU;
volatile uint32_t dbg_stack_rate_min_bytes = 0xFFFFFFFFU;

volatile uint32_t dbg_stack_sample_count = 0U;

/* Definition for RCTask_test */
osThreadId_t RCTestTaskHandle;
const osThreadAttr_t RCTestTask_arrtibutes = {
		. name = "RCTestTask",
		.stack_size = 512 * 4,
		.priority = (osPriority_t)osPriorityBelowNormal,
};

/* USER CODE END Variables */
/* Definitions for defaultTask */
osThreadId_t defaultTaskHandle;
const osThreadAttr_t defaultTask_attributes = {
  .name = "defaultTask",
  .stack_size = 128 * 4,
  .priority = (osPriority_t) osPriorityNormal,
};
/* Definitions for IMUTask */
osThreadId_t IMUTaskHandle;
const osThreadAttr_t IMUTask_attributes = {
  .name = "IMUTask",
  .stack_size = 512 * 4,
  .priority = (osPriority_t) osPriorityHigh,
};
/* Definitions for BaroTask */
osThreadId_t BaroTaskHandle;
const osThreadAttr_t BaroTask_attributes = {
  .name = "BaroTask",
  .stack_size = 512 * 4,
  .priority = (osPriority_t) osPriorityBelowNormal,
};
/* Definitions for CompassTask */
osThreadId_t CompassTaskHandle;
const osThreadAttr_t CompassTask_attributes = {
  .name = "CompassTask",
  .stack_size = 512 * 4,
  .priority = (osPriority_t) osPriorityBelowNormal,
};
/* Definitions for RCTask */
osThreadId_t RCTaskHandle;
const osThreadAttr_t RCTask_attributes = {
  .name = "RCTask",
  .stack_size = 512 * 4,
  .priority = (osPriority_t) osPriorityAboveNormal,
};
/* Definitions for RateControlTask */
osThreadId_t RateControlTaskHandle;
const osThreadAttr_t RateControlTask_attributes = {
  .name = "RateControlTask",
  .stack_size = 1024 * 4,
  .priority = (osPriority_t) osPriorityAboveNormal1,
};
/* Definitions for i2c2Mutex */
osMutexId_t i2c2MutexHandle;
const osMutexAttr_t i2c2Mutex_attributes = {
  .name = "i2c2Mutex"
};

void StartDefaultTask(void *argument);
void StartIMUTask(void *argument);
void StartBaroTask(void *argument);
void StartCompassTask(void *argument);
void StartRCTask(void *argument);
void StartRateControlTask(void *argument);

void MX_FREERTOS_Init(void); /* (MISRA C 2004 rule 8.1) */

/* Hook prototypes */
void vApplicationStackOverflowHook(xTaskHandle xTask, char *pcTaskName);
void vApplicationMallocFailedHook(void);

/* USER CODE BEGIN 4 */
void vApplicationStackOverflowHook(xTaskHandle xTask, char *pcTaskName)
{
   /* Run time stack overflow checking is performed if
   configCHECK_FOR_STACK_OVERFLOW is defined to 1 or 2. This hook function is
   called if a stack overflow is detected. */
	/* USER CODE BEGIN vApplicationStackOverflowHook */

		(void)xTask;
	    (void)pcTaskName;

	    dbg_rtos_fault = 1U;

	    taskDISABLE_INTERRUPTS();

	    for (;;)
	    {
	        __NOP();
	    }

	/* USER CODE END vApplicationStackOverflowHook */

}
/* USER CODE END 4 */

/* USER CODE BEGIN 5 */
void vApplicationMallocFailedHook(void)
{
   /* vApplicationMallocFailedHook() will only be called if
   configUSE_MALLOC_FAILED_HOOK is set to 1 in FreeRTOSConfig.h. It is a hook
   function that will get called if a call to pvPortMalloc() fails.
   pvPortMalloc() is called internally by the kernel whenever a task, queue,
   timer or semaphore is created. It is also called by various parts of the
   demo application. If heap_1.c or heap_2.c are used, then the size of the
   heap available to pvPortMalloc() is defined by configTOTAL_HEAP_SIZE in
   FreeRTOSConfig.h, and the xPortGetFreeHeapSize() API function can be used
   to query the size of free heap space that remains (although it does not
   provide information on how the remaining heap might be fragmented). */
    /* USER CODE BEGIN vApplicationMallocFailedHook */

    dbg_rtos_fault = 2U;

    taskDISABLE_INTERRUPTS();

    for (;;)
    {
        __NOP();
    }

    /* USER CODE END vApplicationMallocFailedHook */
}
/* USER CODE END 5 */

void MX_FREERTOS_Init(void) {
  /* Create the mutex(es) */
  /* creation of i2c2Mutex */
  i2c2MutexHandle = osMutexNew(&i2c2Mutex_attributes);

  /* Create the thread(s) */
  /* creation of defaultTask */
  defaultTaskHandle = osThreadNew(StartDefaultTask, NULL, &defaultTask_attributes);

  /* creation of IMUTask */
  IMUTaskHandle = osThreadNew(StartIMUTask, NULL, &IMUTask_attributes);

  /* creation of BaroTask */
  BaroTaskHandle = osThreadNew(StartBaroTask, NULL, &BaroTask_attributes);

  /* creation of CompassTask */
  CompassTaskHandle = osThreadNew(StartCompassTask, NULL, &CompassTask_attributes);

  /* creation of RCTask */
  RCTaskHandle = osThreadNew(StartRCTask, NULL, &RCTask_attributes);

  /* creation of RateControlTask */
  RateControlTaskHandle = osThreadNew(StartRateControlTask, NULL, &RateControlTask_attributes);

  /* USER CODE BEGIN RTOS_THREADS */
  /* add threads, ... */
//#if RC_LOAD_TEST_ENABLE
//  RCTestTaskHandle = osThreadNew(RCLoadTest_Run,
//                                NULL,
//                                &RCTestTask_arrtibutes);
//#else
//  RCTestTaskHandle = osThreadNew(RCTaskTest_Run,
//                                NULL,
//                                &RCTestTask_arrtibutes);
//#endif
//
//  if (RCTestTaskHandle == NULL)
//  {
//      Error_Handler();
//  }
  /* USER CODE END RTOS_THREADS */

}

void StartDefaultTask(void *argument)
{
  /* USER CODE BEGIN StartDefaultTask */
  /* Infinite loop */
	(void)argument;

	/* Verify persistent task handles before querying their stacks. */
	if ((IMUTaskHandle == NULL) ||
	    (BaroTaskHandle == NULL) ||
	    (CompassTaskHandle == NULL) ||
	    (RCTaskHandle == NULL))
	{
	    Error_Handler();
	}

	for (;;)
	{
	    dbg_hal_tick = HAL_GetTick();
	    dbg_rtos_tick = osKernelGetTickCount();
	    dbg_task_count = uxTaskGetNumberOfTasks();

	    dbg_heap_free = xPortGetFreeHeapSize();
	    dbg_heap_min = xPortGetMinimumEverFreeHeapSize();

	    /* CMSIS-RTOS2 returns stack space in bytes. */
	    dbg_stack_default_min_bytes =
	        osThreadGetStackSpace(osThreadGetId());

	    dbg_stack_imu_min_bytes =
	        osThreadGetStackSpace(IMUTaskHandle);

	    dbg_stack_baro_min_bytes =
	        osThreadGetStackSpace(BaroTaskHandle);

	    dbg_stack_compass_min_bytes =
	        osThreadGetStackSpace(CompassTaskHandle);

	    dbg_stack_rc_min_bytes =
	        osThreadGetStackSpace(RCTaskHandle);
	    dbg_stack_rate_min_bytes = osThreadGetStackSpace(RateControlTaskHandle);

	    dbg_stack_sample_count++;

	    /* One second at the project's 1000 Hz kernel tick. */
	    osDelay(1000U);
	}
  /* USER CODE END StartDefaultTask */
}

void StartIMUTask(void *argument)
{
  /* USER CODE BEGIN StartIMUTask */
  /* Infinite loop */
  IMUTask_Run(argument);
  /* USER CODE END StartIMUTask */
}

void StartBaroTask(void *argument)
{
  /* USER CODE BEGIN StartBaroTask */
  /* Infinite loop */
  BaroTask_Run(argument);
  /* USER CODE END StartBaroTask */
}

void StartCompassTask(void *argument)
{
  /* USER CODE BEGIN StartCompassTask */
  /* Infinite loop */
  CompassTask_Run(argument);
  /* USER CODE END StartCompassTask */
}

void StartRCTask(void *argument)
{
  /* USER CODE BEGIN StartRCTask */
  /* Infinite loop */
  RCTask_Run(argument);
  /* USER CODE END StartRCTask */
}

void StartRateControlTask(void *argument)
{
  /* USER CODE BEGIN StartRateControlTask */
  /* Infinite loop */
  RateControlTask_Run(argument);
  /* USER CODE END StartRateControlTask */
}
